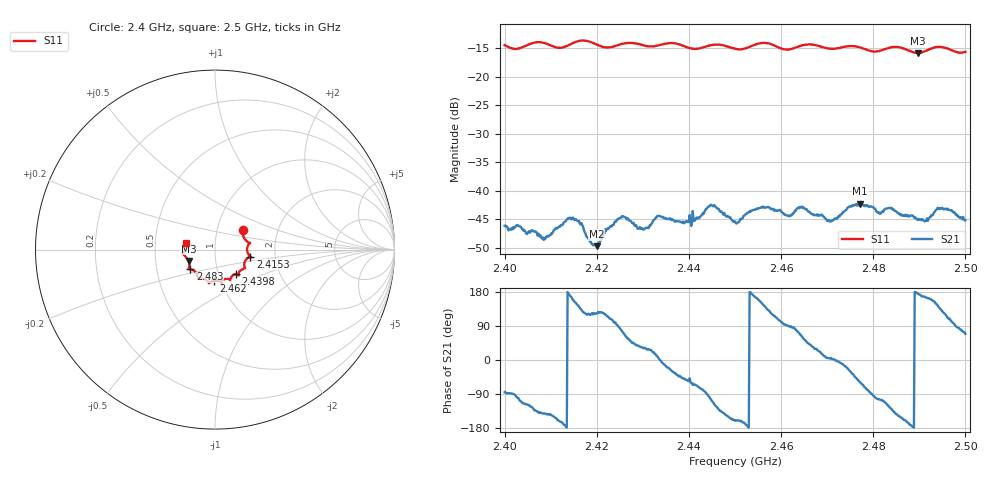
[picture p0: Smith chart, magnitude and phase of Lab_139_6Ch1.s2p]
# Hz S RI R 50
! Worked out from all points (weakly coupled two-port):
!   601 points, 2.4 GHz to 2.5 GHz, reference 50 ohm
!   highest |S21| = -42.27 dB at 2.4772 GHz (marker M1); lowest = -49.7 dB at 2.42 GHz (marker M2)
!   lowest |S11| = -15.9 dB at 2.4897 GHz (marker M3), VSWR 1.38, Z = 36.9 - j4.82 ohm
!   |S11| at or under -10 dB: start of sweep to end of sweep
!   S12 and S22 are empty: the file has one direction only
!   S11 on the Smith chart (normalised r, x): 2.4 GHz: 1.33, +0.29; 2.4153 GHz: 1.48, -0.12; 2.4398 GHz: 1.21, -0.34; 2.462 GHz: 0.93, -0.33; 2.483 GHz: 0.74, -0.17; 2.5 GHz: 0.72, +0.06
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2.4e9  0.1552 0.1064  0.000468 -0.00492  0 0  0 0
2.4085e9  0.1937 0.036  -0.00288 -0.00236  0 0  0 0
2.415333e9  0.1963 -0.0385  -0.00493 0.0026  0 0  0 0
2.416667e9  0.202 -0.0426  -0.00358 0.00381  0 0  0 0
2.42e9  0.1847 -0.0458  -0.00183 0.00272  0 0  0 0
2.425167e9  0.1652 -0.0967  0.000945 0.00575  0 0  0 0
2.43e9  0.1531 -0.1097  0.00391 0.00241  0 0  0 0
2.433333e9  0.1312 -0.1336  0.00597 0.000668  0 0  0 0
2.439833e9  0.1155 -0.1365  0.003 -0.0044  0 0  0 0
2.445167e9  0.0846 -0.1693  -0.00258 -0.00692  0 0  0 0
2.45e9  0.0646 -0.1627  -0.0051 -0.0018  0 0  0 0
2.455667e9  0.0374 -0.1925  -0.00628 0.00335  0 0  0 0
2.462e9  -0.00517 -0.1732  0.000258 0.00612  0 0  0 0
2.464333e9  -0.0293 -0.1838  0.0031 0.00655  0 0  0 0
2.466667e9  -0.0342 -0.1875  0.00503 0.0037  0 0  0 0
2.471e9  -0.0584 -0.1648  0.00551 0.000227  0 0  0 0
2.477167e9  -0.0963 -0.1517  0.00397 -0.0066  0 0  0 0
2.483e9  -0.1375 -0.1097  -0.00323 -0.00619  0 0  0 0
2.483333e9  -0.1399 -0.1095  -0.00377 -0.006  0 0  0 0
2.489667e9  -0.1475 -0.0637  -0.00555 0.000402  0 0  0 0
2.4945e9  -0.1805 -0.0214  -0.00505 0.00495  0 0  0 0
2.5e9  -0.1599 0.039  0.002 0.00515  0 0  0 0
